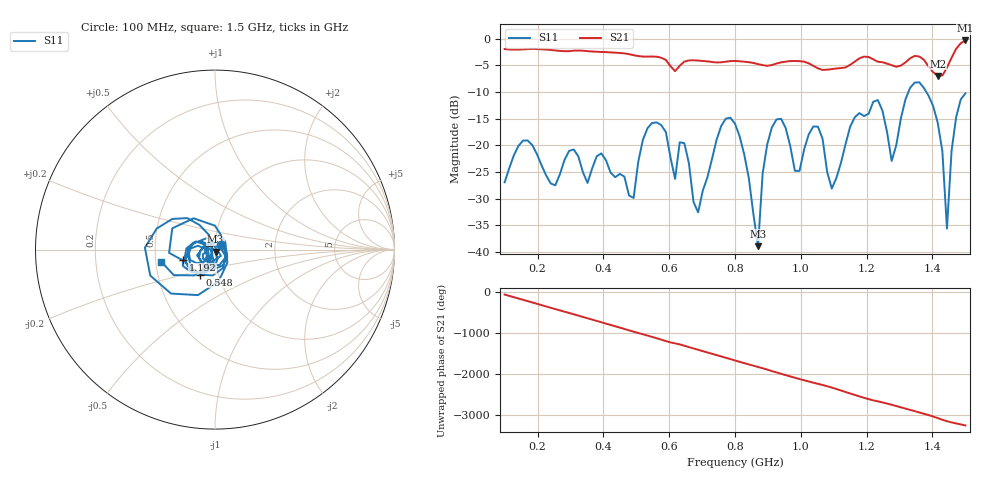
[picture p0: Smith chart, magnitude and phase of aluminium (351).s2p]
! NanoVNA-App
! Date: 2025-09-25 14:58:01
! Start: 100MHz Stop: 1,5GHz Points: 101
! S-Parameter data: F S11 S21 S12 S22
# Hz S RI R 50
!  Frequency  S11_Real  S11_Imag  S21_Real  S21_Imag  S12_Real  S12_Imag  S22_Real  S22_Imag
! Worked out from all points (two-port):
!   101 points, 100 MHz to 1.5 GHz, reference 50 ohm
!   highest |S21| = -0.30 dB at 1.5 GHz (marker M1); lowest = -7.0 dB at 1.416 GHz (marker M2)
!   |S21| within 3 dB of the highest: start of sweep to 517.2 MHz; 1.46 GHz to end of sweep (the widest 2 of 3)
!   lowest |S11| = -38.9 dB at 870 MHz (marker M3), VSWR 1.02, Z = 50.3 - j1.1 ohm
!   |S11| at or under -10 dB: start of sweep to 1.327 GHz; 1.382 GHz to end of sweep
!   S12 and S22 are empty: the file has one direction only
!   S11 on the Smith chart (normalised r, x): 100 MHz: 1.07, +0.06; 548 MHz: 0.82, -0.23; 1.192 GHz: 0.69, -0.08; 1.5 GHz: 0.53, -0.08
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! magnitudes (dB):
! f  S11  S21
! 100 MHz  -27.0  -1.9
! 156 MHz  -19.1  -2.0
! 338 MHz  -25.1  -2.2
! 492 MHz  -29.9  -3.1
! 548 MHz  -15.8  -3.3
! 576 MHz  -16.2  -3.5
! 646 MHz  -19.6  -4.3
! 688 MHz  -32.6  -4.1
! 800 MHz  -15.9  -4.1
! 870 MHz  -38.9  -4.7
! 912 MHz  -16.6  -4.9
! 996 MHz  -24.8  -4.2
! 1.038 GHz  -16.5  -5.1
! 1.094 GHz  -28.1  -5.7
! 1.192 GHz  -14.5  -3.3
! 1.234 GHz  -11.5  -4.3
! 1.276 GHz  -22.9  -4.9
! 1.346 GHz  -8.2  -3.2
! 1.416 GHz  -15.8  -7.0
! 1.444 GHz  -35.6  -5.4
! 1.458 GHz  -21.0  -3.5
! 1.5 GHz  -10.3  -0.3
